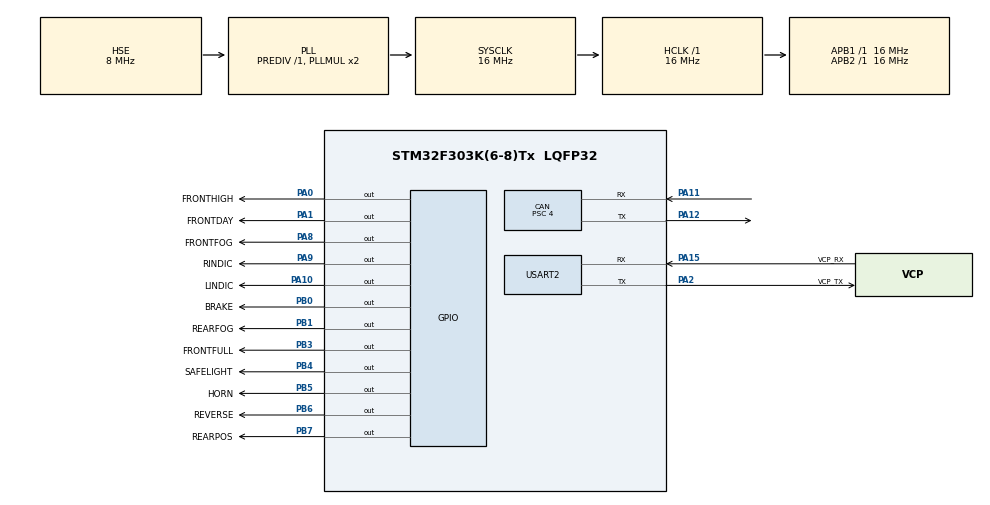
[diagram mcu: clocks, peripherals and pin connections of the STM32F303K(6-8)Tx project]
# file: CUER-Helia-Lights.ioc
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CAN.BS1=CAN_BS1_3TQ
CAN.BS2=CAN_BS2_4TQ
CAN.CalculateBaudRate=500000
CAN.CalculateTimeBit=2000
CAN.CalculateTimeQuantum=250.0
CAN.Prescaler=4
Mcu.Family=STM32F3
Mcu.Name=STM32F303K(6-8)Tx
Mcu.Package=LQFP32
NVIC.CAN_RX0_IRQn=true\:0\:0\:false\:false\:true\:true\:true\:true
NVIC.PriorityGroup=NVIC_PRIORITYGROUP_4
NVIC.TIM2_IRQn=true\:0\:0\:false\:false\:true\:true\:true\:true
NVIC.USART2_IRQn=true\:0\:0\:false\:false\:true\:true\:true\:true
PA0.GPIO_Label=FRONTHIGH
PA0.Signal=GPIO_Output
PA1.GPIO_Label=FRONTDAY
PA1.Signal=GPIO_Output
PA10.GPIO_Label=LINDIC
PA10.Signal=GPIO_Output
PA11.Mode=CAN_Activate
PA11.Signal=CAN_RX
PA12.Mode=CAN_Activate
PA12.Signal=CAN_TX
PA13.GPIO_Label=SWDIO
PA13.Mode=Serial_Wire
PA13.Signal=SYS_JTMS-SWDIO
PA14.GPIO_Label=SWCLK
PA14.Mode=Serial_Wire
PA14.Signal=SYS_JTCK-SWCLK
PA15.GPIO_Label=VCP_RX
PA15.Mode=Asynchronous
PA15.Signal=USART2_RX
PA2.GPIO_Label=VCP_TX
PA2.Mode=Asynchronous
PA2.Signal=USART2_TX
PA8.GPIO_Label=FRONTFOG
PA8.Signal=GPIO_Output
PA9.GPIO_Label=RINDIC
PA9.Signal=GPIO_Output
PB0.GPIO_Label=BRAKE
PB0.Signal=GPIO_Output
PB1.GPIO_Label=REARFOG
PB1.Signal=GPIO_Output
PB3.GPIO_Label=FRONTFULL
PB3.Signal=GPIO_Output
PB4.GPIO_Label=SAFELIGHT
PB4.Signal=GPIO_Output
PB5.GPIO_Label=HORN
PB5.Signal=GPIO_Output
PB6.GPIO_Label=REVERSE
PB6.Signal=GPIO_Output
PB7.GPIO_Label=REARPOS
PB7.Signal=GPIO_Output
PF0\ /\ OSC_IN.GPIO_Label=MCO
PF0\ /\ OSC_IN.Mode=HSE-External-Oscillator
PF0\ /\ OSC_IN.Signal=RCC_OSC_IN
PF1\ /\ OSC_OUT.Mode=HSE-External-Oscillator
PF1\ /\ OSC_OUT.Signal=RCC_OSC_OUT
ProjectManager.HeapSize=0x200
ProjectManager.StackSize=0x400
ProjectManager.TargetToolchain=STM32CubeIDE
RCC.AHBFreq_Value=16000000
RCC.APB1Freq_Value=16000000
RCC.APB1TimFreq_Value=16000000
RCC.APB2Freq_Value=16000000
RCC.APB2TimFreq_Value=16000000
RCC.CortexFreq_Value=16000000
RCC.HCLKFreq_Value=16000000
RCC.HSE_VALUE=8000000
RCC.HSI_VALUE=8000000
RCC.PLLSourceVirtual=RCC_PLLSOURCE_HSE
RCC.SYSCLKFreq_VALUE=16000000
RCC.SYSCLKSourceVirtual=RCC_SYSCLKSOURCE_PLLCLK
TIM2.Period=16000
TIM2.Prescaler=500
USART2.VirtualMode-Asynchronous=VM_ASYNC
VP_TIM2_VS_ClockSourceINT.Mode=Internal
board=NUCLEO-F303K8

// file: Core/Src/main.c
/* USER CODE BEGIN Header */
/**
  ******************************************************************************
  * @file           : main.c
  * @brief          : Main program body
  ******************************************************************************
  * @attention
  *
  * Copyright (c) 2022 STMicroelectronics.
  * All rights reserved.
  *
  * This software is licensed under terms that can be found in the LICENSE file
  * in the root directory of this software component.
  * If no LICENSE file comes with this software, it is provided AS-IS.
  *
  ******************************************************************************
  */
/* USER CODE END Header */
#include "main.h"
#include "can.h"
#include "tim.h"
#include "usart.h"
#include "gpio.h"

void SystemClock_Config(void);

/* USER CODE BEGIN 0 */
CAN_RxHeaderTypeDef rxHeader;
CAN_TxHeaderTypeDef txHeader;
uint8_t rxData[8];      //[Brake, FogF, FogR, Day, RearPos, Reverse, FrontFull, FrontHigh, Horn, IndicR, IndicL, Hazard, Safe], first eight bits in first data byte, followed by last four in second data byte
uint8_t txData[8];      //could be used for status or heartbeat messages to driver controls board, could be left blank otherwise
uint32_t canRxMailbox;
uint32_t canTxMailbox;
uint32_t RXID;
int UART_Start_Flag = 1; //Flag to be checked in the while loop for reactivation of UART receive
int i = 0;
//CAN ID for lights
const int LIGHTS_ID = 0x730;
int RxFlag = 0;
/* USER CODE END 0 */

int main(void)
{

  /* MCU Configuration--------------------------------------------------------*/

  /* Reset of all peripherals, Initializes the Flash interface and the Systick. */
  HAL_Init();

  /* USER CODE BEGIN Init */

  //initialise CAN filters
  CAN_FilterTypeDef canfil;
  canfil.FilterMaskIdHigh = 0;
  canfil.FilterMaskIdLow = 0;
  canfil.FilterIdHigh = 0;
  canfil.FilterIdLow = 0;
  canfil.FilterBank = 1;
  canfil.FilterFIFOAssignment = CAN_FILTER_FIFO0;
  canfil.FilterMode = CAN_FILTERMODE_IDMASK;
  canfil.FilterScale = CAN_FILTERSCALE_16BIT;
  canfil.FilterActivation = ENABLE;
  HAL_CAN_ConfigFilter(&hcan, &canfil);

  //setup CAN header for transmitting messages
  txHeader.DLC = 2; // Number of bytes to be transmitted max- 8
  txHeader.IDE = CAN_ID_STD;
  txHeader.RTR = CAN_RTR_DATA;
  txHeader.StdId = 0x400;
  txData[0] = 0x3d;
  txData[1] = 0x4e;

  /* USER CODE END Init */

  /* Configure the system clock */
  SystemClock_Config();

  /* Initialize all configured peripherals */
  MX_GPIO_Init();
  MX_CAN_Init();
  MX_USART2_UART_Init();
  MX_TIM2_Init();
  /* USER CODE BEGIN 2 */
  // HAL_UART_Receive_IT(&huart2, rxData, 2);
  FullIOReset();
  HAL_CAN_ActivateNotification(&hcan, CAN_IT_RX_FIFO0_MSG_PENDING);
  HAL_CAN_Start(&hcan);

  /* USER CODE END 2 */

  /* Infinite loop */
  /* USER CODE BEGIN WHILE */
  while (1)
  {
    // if(HAL_CAN_AddTxMessage(&hcan, &txHeader, txData, &canTxMailbox)!=HAL_OK){
    //   Error_Handler();
    // }
    // HAL_Delay(1000);
    // if(UART_Start_Flag == 1){
    //   UART_Start_Flag = 0;
    //   HAL_UART_Receive_IT(&huart2, rxData, 2);
    // }
    for(i=0;i<=5;i++){
    heartbeat();
    }
    txHeader.DLC = 1;
    txHeader.StdId = 0x34F;
    txData[1]=0;
    txData[0]=0xff;
    if(HAL_CAN_AddTxMessage(&hcan, &txHeader, txData, &canTxMailbox) != HAL_OK){
      Error_Handler();
    }
    txHeader.StdId = 0x400;
    /* USER CODE END WHILE */

  }
}

void SystemClock_Config(void)
{
  RCC_OscInitTypeDef RCC_OscInitStruct = {0};
  RCC_ClkInitTypeDef RCC_ClkInitStruct = {0};

  /** Initializes the RCC Oscillators according to the specified parameters
  * in the RCC_OscInitTypeDef structure.
  */
  RCC_OscInitStruct.OscillatorType = RCC_OSCILLATORTYPE_HSE;
  RCC_OscInitStruct.HSEState = RCC_HSE_ON;
  RCC_OscInitStruct.HSEPredivValue = RCC_HSE_PREDIV_DIV1;
  RCC_OscInitStruct.HSIState = RCC_HSI_ON;
  RCC_OscInitStruct.PLL.PLLState = RCC_PLL_ON;
  RCC_OscInitStruct.PLL.PLLSource = RCC_PLLSOURCE_HSE;
  RCC_OscInitStruct.PLL.PLLMUL = RCC_PLL_MUL2;
  if (HAL_RCC_OscConfig(&RCC_OscInitStruct) != HAL_OK)
  {
    Error_Handler();
  }

  /** Initializes the CPU, AHB and APB buses clocks
  */
  RCC_ClkInitStruct.ClockType = RCC_CLOCKTYPE_HCLK|RCC_CLOCKTYPE_SYSCLK
                              |RCC_CLOCKTYPE_PCLK1|RCC_CLOCKTYPE_PCLK2;
  RCC_ClkInitStruct.SYSCLKSource = RCC_SYSCLKSOURCE_PLLCLK;
  RCC_ClkInitStruct.AHBCLKDivider = RCC_SYSCLK_DIV1;
  RCC_ClkInitStruct.APB1CLKDivider = RCC_HCLK_DIV1;
  RCC_ClkInitStruct.APB2CLKDivider = RCC_HCLK_DIV1;

  if (HAL_RCC_ClockConfig(&RCC_ClkInitStruct, FLASH_LATENCY_0) != HAL_OK)
  {
    Error_Handler();
  }
}

/* USER CODE BEGIN 4 */
void HAL_CAN_RxFifo0MsgPendingCallback(CAN_HandleTypeDef *hcan){
  if(HAL_CAN_GetRxMessage(hcan, CAN_RX_FIFO0, &rxHeader, rxData) != HAL_OK){
    Error_Handler();
  }
  if(HAL_CAN_AddTxMessage(hcan, &txHeader, rxData, &canTxMailbox) != HAL_OK){
    Error_Handler();
  }
}
void LightsRefresh(uint8_t rxData[]){
  FullIOReset();
  if((rxData[0] & 1) != 0){           //[Brake, FogF, FogR, Day, RearPos, Reverse, FrontFull, FrontHigh] [Horn, IndicR, IndicL, Hazard, Safe]
    Brake();
  }
  if((rxData[0] & 2) != 0){
    FogF();
  }
  if((rxData[0] & 4) != 0){
    FogR();
  }
  if((rxData[0] & 8) != 0){
    Day();
  }
  if((rxData[0] & 16) != 0){
    RearPos();
  }
  if((rxData[0] & 32) != 0){
    Reverse();
  }
  if((rxData[0] & 64) != 0){
    FrontFull();
  }
  if((rxData[0] & 128) != 0){
    FrontHigh();
  }
  if((rxData[1] & 1) != 0){
    Horn();
  }
  if((rxData[1] & 2) != 0||(rxData[1] & 4) != 0||(rxData[1] & 16) != 0||(rxData[1] & 32) != 0){
    HAL_TIM_Base_Start_IT(&htim2);
  }
  }
//repeat above for UART interrupts for bench testing without proper CAN system and knowledge of data and addresses
// void HAL_UART_RxCpltCallback(UART_HandleTypeDef *huart){
//     UART_Start_Flag = 0;
//     FullIOReset();                       //Reset all pinstates for reasignment, should happen fast enough to not cause any major flashing of lighs
//     if((rxData[0] & 1) != 0){           //[Brake, FogF, FogR, Day, RearPos, Reverse, FrontFull, FrontHigh] [Horn, IndicR, IndicL, Hazard, Safe]
//       Brake();
//     }
//     if((rxData[0] & 2) != 0){
//       FogF();
//     }
//     if((rxData[0] & 4) != 0){
//       FogR();
//     }
//     if((rxData[0] & 8) != 0){
//       Day();
//     }
//     if((rxData[0] & 16) != 0){
//       RearPos();
//     }
//     if((rxData[0] & 32) != 0){
//       Reverse();
//     }
//     if((rxData[0] & 64) != 0){
//       FrontFull();
//     }
//     if((rxData[0] & 128) != 0){
//       FrontHigh();
//     }
//     if((rxData[1] & 1) != 0){
//       Horn();
//     }
//     if((rxData[1] & 2) != 0||(rxData[1] & 4) != 0||(rxData[6] & 16) != 0||(rxData[7] & 32) != 0){
//       HAL_TIM_Base_Start_IT(&htim2);
//     }
//   UART_Start_Flag = 1;
// }

void HAL_TIM_PeriodElapsedCallback(TIM_HandleTypeDef* htim){
      if((rxData[1] & 2) != 0||(rxData[1] & 8) != 0){
        HAL_GPIO_TogglePin(RINDIC_GPIO_Port, RINDIC_Pin);
      }
      if((rxData[1] & 4) != 0||(rxData[1] & 8) != 0){
        HAL_GPIO_TogglePin(LINDIC_GPIO_Port, LINDIC_Pin);
      }
      if((rxData[1] & 16) != 0){
        HAL_GPIO_TogglePin(SAFELIGHT_GPIO_Port, SAFELIGHT_Pin);
      }
}

//function to set all of the GPIO pins individually and make other functions more readable
void Brake(){
HAL_GPIO_WritePin(BRAKE_GPIO_Port, BRAKE_Pin, SET);
}

void BrakeR(){
HAL_GPIO_WritePin(BRAKE_GPIO_Port, BRAKE_Pin, RESET);
}

void FogF(){
HAL_GPIO_WritePin(FRONTFOG_GPIO_Port, FRONTFOG_Pin, SET);
}

void FogFR(){
HAL_GPIO_WritePin(FRONTFOG_GPIO_Port, FRONTFOG_Pin, RESET);
}

void FogR(){
HAL_GPIO_WritePin(REARFOG_GPIO_Port, REARFOG_Pin, SET);
}

void FogRR(){
HAL_GPIO_WritePin(REARFOG_GPIO_Port, REARFOG_Pin, RESET);
}

void Day(){
HAL_GPIO_WritePin(FRONTDAY_GPIO_Port, FRONTDAY_Pin, SET);
}

void DayR(){
HAL_GPIO_WritePin(FRONTDAY_GPIO_Port, FRONTDAY_Pin, RESET);
}

void RearPos(){
  HAL_GPIO_WritePin(REARPOS_GPIO_Port, REARPOS_Pin, SET);
}

void RearPosR(){
  HAL_GPIO_WritePin(REARPOS_GPIO_Port, REARPOS_Pin, RESET);
}

void Horn(){
  HAL_GPIO_WritePin(HORN_GPIO_Port, HORN_Pin, SET);
}

void HornR(){
  HAL_GPIO_WritePin(HORN_GPIO_Port, HORN_Pin, RESET);
}

void Reverse(){
  HAL_GPIO_WritePin(REVERSE_GPIO_Port, REVERSE_Pin, SET);
}

void ReverseR(){
  HAL_GPIO_WritePin(REVERSE_GPIO_Port, REVERSE_Pin, RESET);
}

void FrontFull(){
  HAL_GPIO_WritePin(FRONTFULL_GPIO_Port, FRONTFULL_Pin, SET);
}

void FrontFullR(){
  HAL_GPIO_WritePin(FRONTFULL_GPIO_Port, FRONTFULL_Pin, RESET);
}

void FrontHigh(){
  HAL_GPIO_WritePin(FRONTHIGH_GPIO_Port, FRONTHIGH_Pin, SET);
}

void FrontHighR(){
  HAL_GPIO_WritePin(FRONTHIGH_GPIO_Port, FRONTHIGH_Pin, RESET);
}

void FullIOReset(){                       //function to fully reset all GPIO pins used for the lights
  DayR();
  FogRR();
  FogFR();
  BrakeR();
  FrontHighR();
  FrontFullR();
  ReverseR();
  HornR();
  RearPosR();
  HAL_TIM_Base_Stop_IT(&htim2);
  HAL_GPIO_WritePin(SAFELIGHT_GPIO_Port,SAFELIGHT_Pin, RESET);
  HAL_GPIO_WritePin(RINDIC_GPIO_Port, RINDIC_Pin, RESET);
  HAL_GPIO_WritePin(LINDIC_GPIO_Port, LINDIC_Pin, RESET);
}

void heartbeat(){
  if (HAL_CAN_AddTxMessage(&hcan, &txHeader, txData, &canTxMailbox) != HAL_OK){
    Error_Handler();
  }
  HAL_Delay(1000);
}

// void uartHeartbeat(){
//   if(HAL_UART_Transmit(&huart2, &txData[0], 1, 100) != HAL_OK){
//     Error_Handler();
//   }
//   HAL_Delay(250);
// }
/* USER CODE END 4 */

void Error_Handler(void)
{
  __disable_irq();
  while (1)
  {
  }
}
